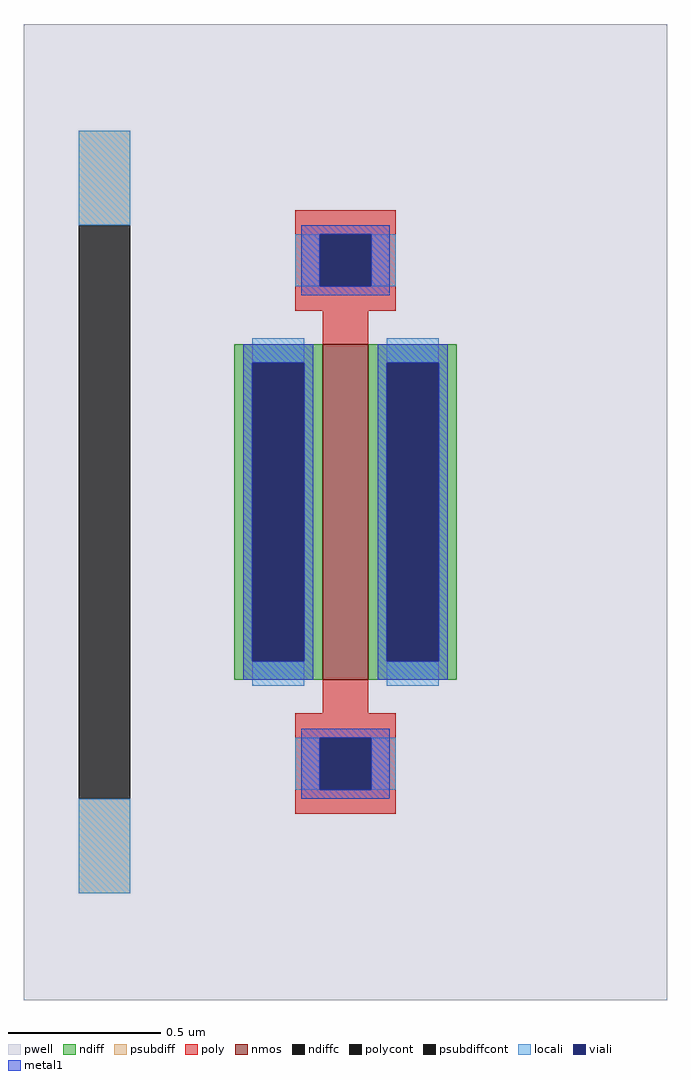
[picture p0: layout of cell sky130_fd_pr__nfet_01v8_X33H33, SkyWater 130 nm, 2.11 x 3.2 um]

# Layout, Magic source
magic
tech sky130A
magscale 1 2
<< pwell >>
rect -211 -320 211 320
<< nmos >>
rect -15 -110 15 110
<< ndiff >>
rect -73 98 -15 110
rect -73 -98 -61 98
rect -27 -98 -15 98
rect -73 -110 -15 -98
rect 15 98 73 110
rect 15 -98 27 98
rect 61 -98 73 98
rect 15 -110 73 -98
<< ndiffc >>
rect -61 -98 -27 98
rect 27 -98 61 98
<< psubdiff >>
rect -175 188 -141 250
rect -175 -250 -141 -188
<< psubdiffcont >>
rect -175 -188 -141 188
<< poly >>
rect -33 182 33 198
rect -33 148 -17 182
rect 17 148 33 182
rect -33 132 33 148
rect -15 110 15 132
rect -15 -132 15 -110
rect -33 -148 33 -132
rect -33 -182 -17 -148
rect 17 -182 33 -148
rect -33 -198 33 -182
<< polycont >>
rect -17 148 17 182
rect -17 -182 17 -148
<< locali >>
rect -175 188 -141 250
rect -33 148 -17 182
rect 17 148 33 182
rect -61 98 -27 114
rect -61 -114 -27 -98
rect 27 98 61 114
rect 27 -114 61 -98
rect -33 -182 -17 -148
rect 17 -182 33 -148
rect -175 -250 -141 -188
<< viali >>
rect -17 148 17 182
rect -61 -98 -27 98
rect 27 -98 61 98
rect -17 -182 17 -148
<< metal1 >>
rect -29 182 29 188
rect -29 148 -17 182
rect 17 148 29 182
rect -29 142 29 148
rect -67 98 -21 110
rect -67 -98 -61 98
rect -27 -98 -21 98
rect -67 -110 -21 -98
rect 21 98 67 110
rect 21 -98 27 98
rect 61 -98 67 98
rect 21 -110 67 -98
rect -29 -148 29 -142
rect -29 -182 -17 -148
rect 17 -182 29 -148
rect -29 -188 29 -182
<< properties >>
string FIXED_BBOX -158 -267 158 267
string gencell sky130_fd_pr__nfet_01v8
string library sky130
string parameters w 1.1 l 0.153 m 1 nf 1 diffcov 100 polycov 100 guard 1 glc 1 grc 1 gtc 1 gbc 1 tbcov 100 rlcov 100 topc 1 botc 1 poverlap 0 doverlap 1 lmin 0.15 wmin 0.42 compatible {sky130_fd_pr__nfet_01v8 sky130_fd_pr__nfet_01v8_lvt  sky130_fd_bs_flash__special_sonosfet_star  sky130_fd_pr__nfet_g5v0d10v5 sky130_fd_pr__nfet_05v0_nvt  sky130_fd_pr__nfet_03v3_nvt} full_metal 1 viasrc 100 viadrn 100 viagate 100 viagb 0 viagr 0 viagl 0 viagt 0
<< end >>
